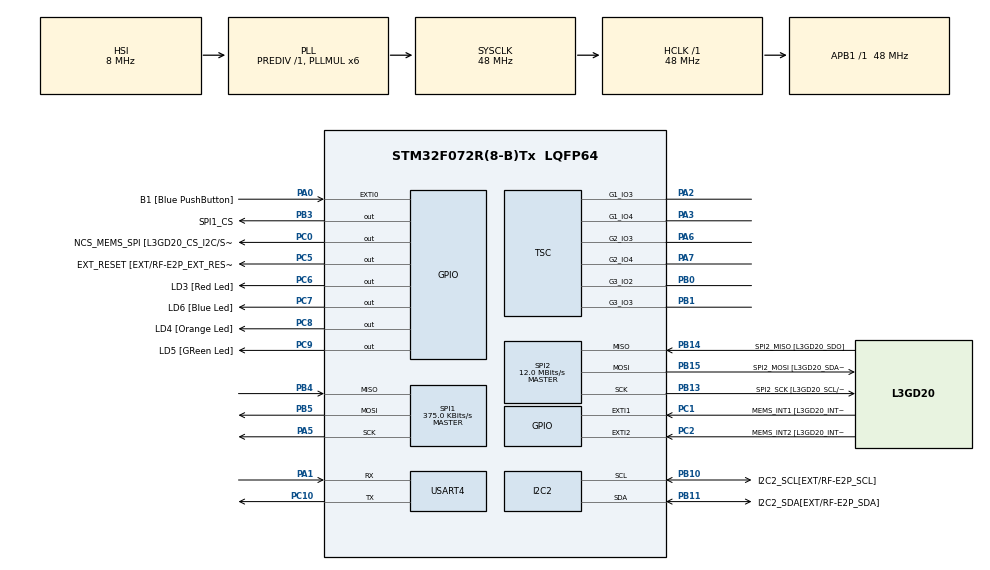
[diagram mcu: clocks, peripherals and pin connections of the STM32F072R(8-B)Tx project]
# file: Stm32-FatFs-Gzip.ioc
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I2C2.Timing=0x20303E5D
Mcu.Family=STM32F0
Mcu.Name=STM32F072R(8-B)Tx
Mcu.Package=LQFP64
PA0.GPIO_Label=B1 [Blue PushButton]
PA0.GPIO_ModeDefaultEXTI=GPIO_MODE_EVT_RISING
PA0.Signal=GPXTI0
PA1.Mode=Asynchronous
PA1.Signal=USART4_RX
PA11.GPIO_Label=USBF4_DM
PA11.Signal=USB_DM
PA12.GPIO_Label=USBF4_DP
PA12.Signal=USB_DP
PA13.GPIO_Label=SWDIO
PA13.Mode=Serial_Wire
PA13.Signal=SYS_SWDIO
PA14.GPIO_Label=SWCLK
PA14.Mode=Serial_Wire
PA14.Signal=SYS_SWCLK
PA2.Mode=G1_IO3-Channel
PA2.Signal=TSC_G1_IO3
PA3.Mode=G1_IO4-Sampling
PA3.Signal=TSC_G1_IO4
PA5.Mode=Full_Duplex_Master
PA5.Signal=SPI1_SCK
PA6.Mode=G2_IO3-Channel
PA6.Signal=TSC_G2_IO3
PA7.Mode=G2_IO4-Sampling
PA7.Signal=TSC_G2_IO4
PB0.Mode=G3_IO2-Channel
PB0.Signal=TSC_G3_IO2
PB1.Mode=G3_IO3-Sampling
PB1.Signal=TSC_G3_IO3
PB10.GPIO_Label=I2C2_SCL[EXT/RF-E2P_SCL]
PB10.GPIO_Pu=GPIO_PULLUP
PB10.Mode=I2C
PB10.Signal=I2C2_SCL
PB11.GPIO_Label=I2C2_SDA[EXT/RF-E2P_SDA]
PB11.GPIO_Pu=GPIO_PULLUP
PB11.Mode=I2C
PB11.Signal=I2C2_SDA
PB13.GPIO_Label=SPI2_SCK [L3GD20_SCL/SPC]
PB13.Mode=Full_Duplex_Master
PB13.Signal=SPI2_SCK
PB14.GPIO_Label=SPI2_MISO [L3GD20_SDO]
PB14.Mode=Full_Duplex_Master
PB14.Signal=SPI2_MISO
PB15.GPIO_Label=SPI2_MOSI [L3GD20_SDA/SDI]
PB15.Mode=Full_Duplex_Master
PB15.Signal=SPI2_MOSI
PB3.GPIO_Label=SPI1_CS
PB3.Signal=GPIO_Output
PB4.Mode=Full_Duplex_Master
PB4.Signal=SPI1_MISO
PB5.Mode=Full_Duplex_Master
PB5.Signal=SPI1_MOSI
PC0.GPIO_Label=NCS_MEMS_SPI [L3GD20_CS_I2C/SPI]
PC0.Signal=GPIO_Output
PC1.GPIO_Label=MEMS_INT1 [L3GD20_INT1]
PC1.GPIO_ModeDefaultEXTI=GPIO_MODE_EVT_RISING
PC1.Signal=GPXTI1
PC10.Mode=Asynchronous
PC10.Signal=USART4_TX
PC2.GPIO_Label=MEMS_INT2 [L3GD20_INT2]
PC2.GPIO_ModeDefaultEXTI=GPIO_MODE_EVT_RISING
PC2.Signal=GPXTI2
PC5.GPIO_Label=EXT_RESET [EXT/RF-E2P_EXT_RESET]
PC5.Signal=GPIO_Output
PC6.GPIO_Label=LD3 [Red Led]
PC6.Signal=GPIO_Output
PC7.GPIO_Label=LD6 [Blue Led]
PC7.Signal=GPIO_Output
PC8.GPIO_Label=LD4 [Orange Led]
PC8.Signal=GPIO_Output
PC9.GPIO_Label=LD5 [GReen Led]
PC9.Signal=GPIO_Output
ProjectManager.HeapSize=0x200
ProjectManager.StackSize=0x400
ProjectManager.TargetToolchain=STM32CubeIDE
RCC.AHBFreq_Value=48000000
RCC.APB1Freq_Value=48000000
RCC.APB1TimFreq_Value=48000000
RCC.HCLKFreq_Value=48000000
RCC.PLLMUL=RCC_PLL_MUL6
RCC.SYSCLKFreq_VALUE=48000000
RCC.SYSCLKSource=RCC_SYSCLKSOURCE_PLLCLK
SPI1.BaudRatePrescaler=SPI_BAUDRATEPRESCALER_128
SPI1.CalculateBaudRate=375.0 KBits/s
SPI1.DataSize=SPI_DATASIZE_8BIT
SPI1.Direction=SPI_DIRECTION_2LINES
SPI1.Mode=SPI_MODE_MASTER
SPI1.VirtualType=VM_MASTER
SPI2.BaudRatePrescaler=SPI_BAUDRATEPRESCALER_4
SPI2.CalculateBaudRate=12.0 MBits/s
SPI2.Direction=SPI_DIRECTION_2LINES
SPI2.Mode=SPI_MODE_MASTER
SPI2.VirtualType=VM_MASTER
USART4.VirtualMode-Asynchronous=VM_ASYNC
VP_FATFS_VS_Generic.Mode=User_defined
board=STM32F072B-DISCO

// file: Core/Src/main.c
/* USER CODE BEGIN Header */
/**
  ******************************************************************************
  * @file           : main.c
  * @brief          : Main program body
  ******************************************************************************
  * @attention
  *
  * Copyright (c) 2022 STMicroelectronics.
  * All rights reserved.
  *
  * This software is licensed under terms that can be found in the LICENSE file
  * in the root directory of this software component.
  * If no LICENSE file comes with this software, it is provided AS-IS.
  *
  ******************************************************************************
  */
/* USER CODE END Header */
#include "main.h"
#include "fatfs.h"

/* USER CODE BEGIN Includes */
#include <stdio.h>
#include <string.h>
#include <stdarg.h> //for va_list var arg functions
#include "../../uzlib/uzlib.h"
/* USER CODE END Includes */

/* USER CODE BEGIN PD */
//define FNAME_ENABLE
/* USER CODE END PD */

I2C_HandleTypeDef hi2c2;

SPI_HandleTypeDef hspi1;
SPI_HandleTypeDef hspi2;

TSC_HandleTypeDef htsc;

UART_HandleTypeDef huart4;

/* USER CODE BEGIN PV */
FATFS 	FatFs;	    // FATFS handle
FRESULT fres; 		// Common result code
FIL		fil;		// File object structure
UINT 	bw;         // 	Pointer to number of bytes written
/* USER CODE END PV */

void SystemClock_Config(void);
static void MX_GPIO_Init(void);
static void MX_I2C2_Init(void);
static void MX_SPI2_Init(void);
static void MX_TSC_Init(void);
static void MX_SPI1_Init(void);
static void MX_USART4_UART_Init(void);
/* USER CODE BEGIN PFP */
void printk(const char*, ...);
/* USER CODE END PFP */

int main(void)
{

  /* MCU Configuration--------------------------------------------------------*/

  /* Reset of all peripherals, Initializes the Flash interface and the Systick. */
  HAL_Init();

  /* Configure the system clock */
  SystemClock_Config();

  /* Initialize all configured peripherals */
  MX_GPIO_Init();
  MX_I2C2_Init();
  MX_SPI2_Init();
  MX_TSC_Init();
  MX_SPI1_Init();
  MX_USART4_UART_Init();
  MX_FATFS_Init();
  /* USER CODE BEGIN 2 */

  // #################################" Compressing text to GZIP "################################# //

  fres = f_mount(&FatFs, "", 1); // 1 -> Mount now

  	  if (fres == FR_OK) {
  		  printk("\n Compressing \n");
  	      printk("\n Mount SDCard \n");

		  const char *data					= "I hate Java Programming Language ! \n"
		  " Because it's way way way way way way way way, very way way way way, super way way way way way way toooooooooooooo verbose.";

		  const char *destination_name 		= "demo.gz";

  	      struct uzlib_comp 	comp					= {0};
  	      unsigned long 		file_size				=  0;
  	      size_t 				len 					= strlen(data);

  	      comp.dict_size 								= 32768;
  	      comp.hash_bits 								= 10;

  	      size_t hash_size = sizeof(uzlib_hash_entry_t) * (1 << comp.hash_bits);
  	      comp.hash_table = malloc(hash_size);

  	      if (comp.hash_table == NULL) {
  	    	printk("\n Memory allocation error \n");
  	    	return -1;
  	      }

  	      memset(comp.hash_table, 0, hash_size);

  	      zlib_start_block(&comp);
  	      uzlib_compress(&comp, (const unsigned char*) data, len);
  	      zlib_finish_block(&comp);

  	      printk("\n Data : %s  \n ( %lu  bytes ) \n",data, (uint32_t)strlen(data));
  	      printk("\n Compressed data to : to %u  bytes \n", comp.outlen);

  	      fres = f_open(&fil, destination_name,
  	                          FA_WRITE | FA_OPEN_ALWAYS | FA_CREATE_ALWAYS);

  	      if (fres == FR_OK) {

  	          // Create File Header
  	          uint32_t 	mtime 		 = 720489600; 		// 	Initial release GZIP 31 October 1992;

  	          f_putc(0x1f, &fil);						//	Magic Number
  	          f_putc(0x8b, &fil);						//	Magic Number
  	          f_putc(0x08, &fil); 						//	Compression Method
#ifdef FNAME_ENABLE
  	          f_putc(0x08, &fil); 						//	File Flags  FNAME : 0x08 ->	The file contains an original file name string
#else
  	          f_putc(0x00, &fil); 						//	File Flags
#endif
  	          fres = f_write(&fil, &mtime, sizeof(mtime), &bw);  // Set File timestamp

  	          f_putc(0x04, &fil); 						//	XFL
  	          f_putc(0x03, &fil);						//	OS

#ifdef FNAME_ENABLE
  	          // Create Payload
  			  const char *orginal_name 			= "demo.txt";
  	          fres = f_write(&fil, orginal_name, strlen(orginal_name), &bw);
  	          f_putc(0x00, &fil); 	  					//	EOF
#endif

  	          fres = f_write(&fil, comp.outbuf, comp.outlen, &bw);

  	          uint32_t crc = ~uzlib_crc32(data, len, ~0);	// Calculate CRC

  	          fres = f_write(&fil, &crc,sizeof(crc), &bw);	// Add CRC

  	          fres = f_write(&fil, &len, sizeof(len), &bw);	// Add original length

  	          // Close file
  	          file_size = f_size(&fil);
  	          f_close(&fil);

  	      }

  	      printk("\n Successfully generated!  %s ( %u bytes ) \n",destination_name, file_size);

  	  }
  	  f_mount(NULL, "", 0);
  	  printk("\n Unmount SDCard \n");

  // #################################" Decompressing GZIP to text "################################# //

  	fres = f_mount(&FatFs, "", 1); // 1 -> Mount now

  		  if (fres == FR_OK)

  		  {

  	  		printk("\n Decompressing \n");
    	    printk("\n Mount SDCard \n");

  			const char 		*compressed_file = "demo.gz";
  			unsigned char 	*dest;
  			unsigned int	len;
  			unsigned int	dlen,outlen;

  			uint8_t res;

  			uzlib_init();

  			fres = f_open(&fil, compressed_file, FA_READ);

  			f_lseek(&fil, f_size(&fil));

  			len = f_tell(&fil);
  			f_rewind(&fil);

  			BYTE *data;
  			data = (BYTE *) malloc(len);

  			memset(data,0,len);

  			fres = f_read(&fil, data, len, &bw);

  			f_close(&fil);

  			if (len < 4) {

  				printk("\n File too small \n");
  				return -1;

  			}

  			dlen =            data[len - 1];
  			dlen = 256*dlen + data[len - 2];
  			dlen = 256*dlen + data[len - 3];
  			dlen = 256*dlen + data[len - 4];

  			outlen = dlen;
  			/* there can be mismatch between length in the trailer and actual
  			data stream; to avoid buffer overruns on overlong streams, reserve
  			one extra byte */

  			dlen++;
  			dest = (unsigned char *)malloc(dlen);

  			if (dest == NULL) {

  				printk("\n Memory allocation error \n");
  				return -1;
  			}

  			struct uzlib_uncomp d;

  			uzlib_uncompress_init(&d, NULL, 0);

  			d.source = data;
  			d.source_limit = data + len - 4;
  			d.source_read_cb = NULL;

#ifdef FNAME_ENABLE

  			char *original_name;

  			res = uzlib_gzip_parse_header_fname(&d,&original_name);

  			if (res != TINF_OK) {

  				printk("\n Error parsing header: %d\n", res);
  				return res;

  			}

  			printk("\n Original file name : %s",original_name);

#else
  			res = uzlib_gzip_parse_header(&d);

  			if (res != TINF_OK) {

  				printf("Error parsing header: %d\n", res);
  				return res;

  			}

#endif
  			d.dest_start = d.dest = dest;

  			while (dlen)

  			{

				unsigned int chunk_len = dlen < 1 ? dlen : 1;
				d.dest_limit = d.dest + chunk_len;
				res = uzlib_uncompress_chksum(&d);
				dlen -= chunk_len;
				if (res != TINF_OK) {
					break;
					}
  			}

  			if (res != TINF_DONE)
  			{
  				printk("\n Error during decompression: %d\n", res);
  				return res;

  			}
  			printk("\n Decompressed %d bytes\n", d.dest - dest);

  			dest[outlen]  = '\0';

  			printk("\n Data : \n %s",dest);

  			free(data);
  			free(dest);

  		  }

	  f_mount(NULL, "", 0);
	  printk("\n Unmount SDCard \n");

  /* USER CODE END 2 */

  /* Infinite loop */
  while (1)
  {

  }
}

void SystemClock_Config(void)
{
  RCC_OscInitTypeDef RCC_OscInitStruct = {0};
  RCC_ClkInitTypeDef RCC_ClkInitStruct = {0};

  /** Initializes the RCC Oscillators according to the specified parameters
  * in the RCC_OscInitTypeDef structure.
  */
  RCC_OscInitStruct.OscillatorType = RCC_OSCILLATORTYPE_HSI;
  RCC_OscInitStruct.HSIState = RCC_HSI_ON;
  RCC_OscInitStruct.HSICalibrationValue = RCC_HSICALIBRATION_DEFAULT;
  RCC_OscInitStruct.PLL.PLLState = RCC_PLL_ON;
  RCC_OscInitStruct.PLL.PLLSource = RCC_PLLSOURCE_HSI;
  RCC_OscInitStruct.PLL.PLLMUL = RCC_PLL_MUL6;
  RCC_OscInitStruct.PLL.PREDIV = RCC_PREDIV_DIV1;
  if (HAL_RCC_OscConfig(&RCC_OscInitStruct) != HAL_OK)
  {
    Error_Handler();
  }

  /** Initializes the CPU, AHB and APB buses clocks
  */
  RCC_ClkInitStruct.ClockType = RCC_CLOCKTYPE_HCLK|RCC_CLOCKTYPE_SYSCLK
                              |RCC_CLOCKTYPE_PCLK1;
  RCC_ClkInitStruct.SYSCLKSource = RCC_SYSCLKSOURCE_PLLCLK;
  RCC_ClkInitStruct.AHBCLKDivider = RCC_SYSCLK_DIV1;
  RCC_ClkInitStruct.APB1CLKDivider = RCC_HCLK_DIV1;

  if (HAL_RCC_ClockConfig(&RCC_ClkInitStruct, FLASH_LATENCY_1) != HAL_OK)
  {
    Error_Handler();
  }
}

static void MX_I2C2_Init(void)
{

  hi2c2.Instance = I2C2;
  hi2c2.Init.Timing = 0x20303E5D;
  hi2c2.Init.OwnAddress1 = 0;
  hi2c2.Init.AddressingMode = I2C_ADDRESSINGMODE_7BIT;
  hi2c2.Init.DualAddressMode = I2C_DUALADDRESS_DISABLE;
  hi2c2.Init.OwnAddress2 = 0;
  hi2c2.Init.OwnAddress2Masks = I2C_OA2_NOMASK;
  hi2c2.Init.GeneralCallMode = I2C_GENERALCALL_DISABLE;
  hi2c2.Init.NoStretchMode = I2C_NOSTRETCH_DISABLE;
  if (HAL_I2C_Init(&hi2c2) != HAL_OK)
  {
    Error_Handler();
  }

  /** Configure Analogue filter
  */
  if (HAL_I2CEx_ConfigAnalogFilter(&hi2c2, I2C_ANALOGFILTER_ENABLE) != HAL_OK)
  {
    Error_Handler();
  }

  /** Configure Digital filter
  */
  if (HAL_I2CEx_ConfigDigitalFilter(&hi2c2, 0) != HAL_OK)
  {
    Error_Handler();
  }

}

static void MX_SPI1_Init(void)
{

  /* SPI1 parameter configuration*/
  hspi1.Instance = SPI1;
  hspi1.Init.Mode = SPI_MODE_MASTER;
  hspi1.Init.Direction = SPI_DIRECTION_2LINES;
  hspi1.Init.DataSize = SPI_DATASIZE_8BIT;
  hspi1.Init.CLKPolarity = SPI_POLARITY_LOW;
  hspi1.Init.CLKPhase = SPI_PHASE_1EDGE;
  hspi1.Init.NSS = SPI_NSS_SOFT;
  hspi1.Init.BaudRatePrescaler = SPI_BAUDRATEPRESCALER_128;
  hspi1.Init.FirstBit = SPI_FIRSTBIT_MSB;
  hspi1.Init.TIMode = SPI_TIMODE_DISABLE;
  hspi1.Init.CRCCalculation = SPI_CRCCALCULATION_DISABLE;
  hspi1.Init.CRCPolynomial = 7;
  hspi1.Init.CRCLength = SPI_CRC_LENGTH_DATASIZE;
  hspi1.Init.NSSPMode = SPI_NSS_PULSE_ENABLE;
  if (HAL_SPI_Init(&hspi1) != HAL_OK)
  {
    Error_Handler();
  }

}

static void MX_SPI2_Init(void)
{

  /* SPI2 parameter configuration*/
  hspi2.Instance = SPI2;
  hspi2.Init.Mode = SPI_MODE_MASTER;
  hspi2.Init.Direction = SPI_DIRECTION_2LINES;
  hspi2.Init.DataSize = SPI_DATASIZE_4BIT;
  hspi2.Init.CLKPolarity = SPI_POLARITY_LOW;
  hspi2.Init.CLKPhase = SPI_PHASE_1EDGE;
  hspi2.Init.NSS = SPI_NSS_SOFT;
  hspi2.Init.BaudRatePrescaler = SPI_BAUDRATEPRESCALER_4;
  hspi2.Init.FirstBit = SPI_FIRSTBIT_MSB;
  hspi2.Init.TIMode = SPI_TIMODE_DISABLE;
  hspi2.Init.CRCCalculation = SPI_CRCCALCULATION_DISABLE;
  hspi2.Init.CRCPolynomial = 7;
  hspi2.Init.CRCLength = SPI_CRC_LENGTH_DATASIZE;
  hspi2.Init.NSSPMode = SPI_NSS_PULSE_ENABLE;
  if (HAL_SPI_Init(&hspi2) != HAL_OK)
  {
    Error_Handler();
  }

}

static void MX_TSC_Init(void)
{

  /** Configure the TSC peripheral
  */
  htsc.Instance = TSC;
  htsc.Init.CTPulseHighLength = TSC_CTPH_2CYCLES;
  htsc.Init.CTPulseLowLength = TSC_CTPL_2CYCLES;
  htsc.Init.SpreadSpectrum = DISABLE;
  htsc.Init.SpreadSpectrumDeviation = 1;
  htsc.Init.SpreadSpectrumPrescaler = TSC_SS_PRESC_DIV1;
  htsc.Init.PulseGeneratorPrescaler = TSC_PG_PRESC_DIV4;
  htsc.Init.MaxCountValue = TSC_MCV_8191;
  htsc.Init.IODefaultMode = TSC_IODEF_OUT_PP_LOW;
  htsc.Init.SynchroPinPolarity = TSC_SYNC_POLARITY_FALLING;
  htsc.Init.AcquisitionMode = TSC_ACQ_MODE_NORMAL;
  htsc.Init.MaxCountInterrupt = DISABLE;
  htsc.Init.ChannelIOs = TSC_GROUP1_IO3|TSC_GROUP2_IO3|TSC_GROUP3_IO2;
  htsc.Init.ShieldIOs = 0;
  htsc.Init.SamplingIOs = TSC_GROUP1_IO4|TSC_GROUP2_IO4|TSC_GROUP3_IO3;
  if (HAL_TSC_Init(&htsc) != HAL_OK)
  {
    Error_Handler();
  }

}

static void MX_USART4_UART_Init(void)
{

  huart4.Instance = USART4;
  huart4.Init.BaudRate = 38400;
  huart4.Init.WordLength = UART_WORDLENGTH_8B;
  huart4.Init.StopBits = UART_STOPBITS_1;
  huart4.Init.Parity = UART_PARITY_NONE;
  huart4.Init.Mode = UART_MODE_TX_RX;
  huart4.Init.HwFlowCtl = UART_HWCONTROL_NONE;
  huart4.Init.OverSampling = UART_OVERSAMPLING_16;
  huart4.Init.OneBitSampling = UART_ONE_BIT_SAMPLE_DISABLE;
  huart4.AdvancedInit.AdvFeatureInit = UART_ADVFEATURE_NO_INIT;
  if (HAL_UART_Init(&huart4) != HAL_OK)
  {
    Error_Handler();
  }

}

static void MX_GPIO_Init(void)
{
  GPIO_InitTypeDef GPIO_InitStruct = {0};

  /* GPIO Ports Clock Enable */
  __HAL_RCC_GPIOC_CLK_ENABLE();
  __HAL_RCC_GPIOA_CLK_ENABLE();
  __HAL_RCC_GPIOB_CLK_ENABLE();

  /*Configure GPIO pin Output Level */
  HAL_GPIO_WritePin(GPIOC, NCS_MEMS_SPI_Pin|EXT_RESET_Pin|LD3_Pin|LD6_Pin
                          |LD4_Pin|LD5_Pin, GPIO_PIN_RESET);

  /*Configure GPIO pin Output Level */
  HAL_GPIO_WritePin(SPI1_CS_GPIO_Port, SPI1_CS_Pin, GPIO_PIN_RESET);

  /*Configure GPIO pins : NCS_MEMS_SPI_Pin EXT_RESET_Pin LD3_Pin LD6_Pin
                           LD4_Pin LD5_Pin */
  GPIO_InitStruct.Pin = NCS_MEMS_SPI_Pin|EXT_RESET_Pin|LD3_Pin|LD6_Pin
                          |LD4_Pin|LD5_Pin;
  GPIO_InitStruct.Mode = GPIO_MODE_OUTPUT_PP;
  GPIO_InitStruct.Pull = GPIO_NOPULL;
  GPIO_InitStruct.Speed = GPIO_SPEED_FREQ_LOW;
  HAL_GPIO_Init(GPIOC, &GPIO_InitStruct);

  /*Configure GPIO pins : MEMS_INT1_Pin MEMS_INT2_Pin */
  GPIO_InitStruct.Pin = MEMS_INT1_Pin|MEMS_INT2_Pin;
  GPIO_InitStruct.Mode = GPIO_MODE_EVT_RISING;
  GPIO_InitStruct.Pull = GPIO_NOPULL;
  HAL_GPIO_Init(GPIOC, &GPIO_InitStruct);

  /*Configure GPIO pin : B1_Pin */
  GPIO_InitStruct.Pin = B1_Pin;
  GPIO_InitStruct.Mode = GPIO_MODE_EVT_RISING;
  GPIO_InitStruct.Pull = GPIO_NOPULL;
  HAL_GPIO_Init(B1_GPIO_Port, &GPIO_InitStruct);

  /*Configure GPIO pin : SPI1_CS_Pin */
  GPIO_InitStruct.Pin = SPI1_CS_Pin;
  GPIO_InitStruct.Mode = GPIO_MODE_OUTPUT_PP;
  GPIO_InitStruct.Pull = GPIO_NOPULL;
  GPIO_InitStruct.Speed = GPIO_SPEED_FREQ_LOW;
  HAL_GPIO_Init(SPI1_CS_GPIO_Port, &GPIO_InitStruct);

}

/* USER CODE BEGIN 4 */
void printk(const char *fmt, ...)
{
	static char buffer[256];
	va_list args;
	va_start(args, fmt);
	vsnprintf(buffer, sizeof(buffer), fmt, args);
	va_end(args);

	int len = strlen(buffer);
	HAL_UART_Transmit(&huart4, (uint8_t*) buffer, len, -1);
}

/* USER CODE END 4 */

void Error_Handler(void)
{
  __disable_irq();
  while (1)
  {
  }
}
